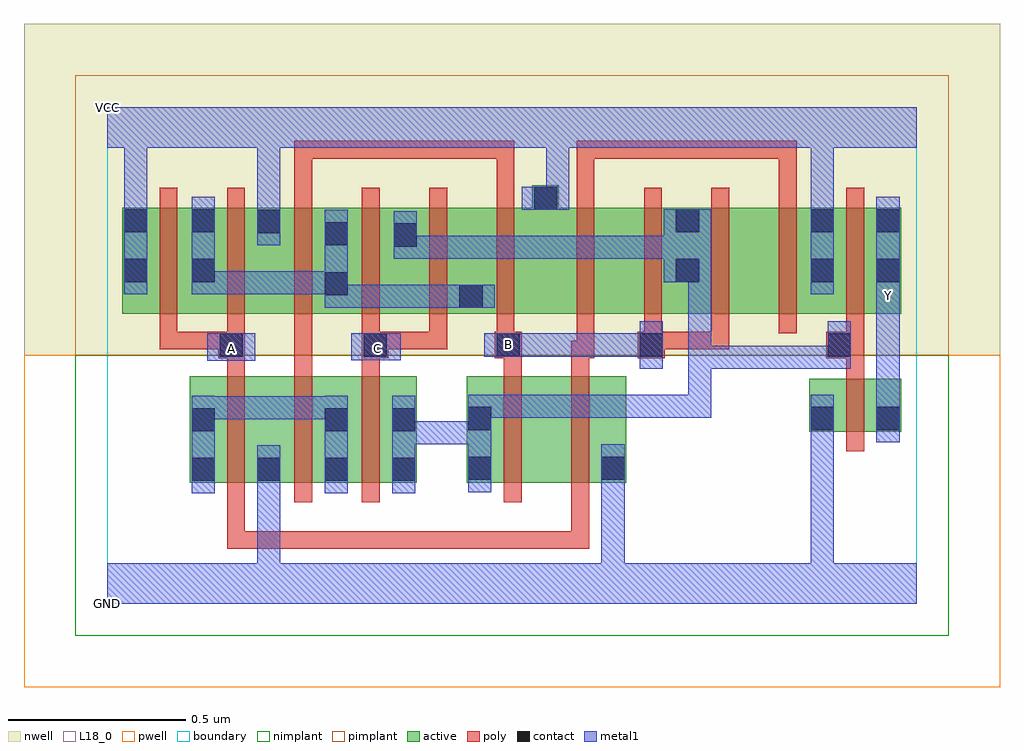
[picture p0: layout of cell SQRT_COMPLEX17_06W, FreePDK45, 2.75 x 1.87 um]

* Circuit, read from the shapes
.subckt SQRT_COMPLEX17_06W A B C GND VCC Y
M1 GND A n1 VSUBS nfet w=0.3u l=0.05u
M2 n1 B GND VSUBS nfet w=0.3u l=0.05u
M3 n2 C n1 VSUBS nfet w=0.3u l=0.05u
M4 n3 B n2 VSUBS nfet w=0.3u l=0.05u
M5 GND A n3 VSUBS nfet w=0.3u l=0.05u
M6 Y n2 GND VSUBS nfet w=0.15u l=0.05u
M7 n4 A VCC n5 pfet w=0.3u l=0.05u m=2
M8 n4 B VCC n5 pfet w=0.3u l=0.05u m=2
M9 n2 C n4 n5 pfet w=0.3u l=0.05u m=2
M10 n6 A VCC n5 pfet w=0.3u l=0.05u
M11 n2 B n6 n5 pfet w=0.3u l=0.05u
M12 n7 B n2 n5 pfet w=0.3u l=0.05u
M13 VCC A n7 n5 pfet w=0.3u l=0.05u
M14 Y n2 VCC n5 pfet w=0.3u l=0.05u
.ends

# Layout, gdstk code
import gdstk
lib = gdstk.Library(unit=1e-6, precision=1e-09)
def R(c, l, rs):  # rectangles x0, y0, x1, y1
    for r in rs: c.add(gdstk.rectangle(r[:2], r[2:], *l))
def A(c, l, x, y, w, h, nx, ny, dx, dy):  # array of equal rectangles
    R(c, l, [(x+i*dx, y+j*dy, x+i*dx+w, y+j*dy+h) for i in range(nx) for j in range(ny)])
active = (1, 0)
pwell = (2, 0)
nwell = (3, 0)
nimplant = (4, 0)
pimplant = (5, 0)
poly = (9, 0)
contact = (10, 0)
metal1 = (11, 0)
L18_0 = (18, 0)
boundary = (235, 0)

sqrt_complex17_06w = lib.new_cell('SQRT_COMPLEX17_06W')
R(sqrt_complex17_06w, active, [(0.232,0.342,0.307,0.642), (0.232,0.342,0.492,0.642), (0.417,0.342,0.682,0.642), (0.417,0.342,0.492,0.437), (0.607,0.342,0.682,0.642), (0.607,0.342,0.872,0.642), (0.797,0.342,0.872,0.642), (1.012,0.342,1.087,0.642), (1.012,0.342,1.237,0.642), (1.237,0.342,1.462,0.642), (1.387,0.342,1.462,0.642), (1.977,0.485,2.052,0.635), (1.977,0.485,2.237,0.635), (2.162,0.485,2.237,0.635), (0.042,0.817,0.117,1.117), (0.042,0.817,0.307,1.117), (0.232,0.817,0.307,1.117), (0.232,0.817,0.492,1.117), (0.417,0.817,0.492,1.117), (0.417,0.817,0.682,1.117), (0.607,0.817,0.682,1.117), (0.607,0.817,0.877,1.117), (0.802,0.817,1.062,1.117), (0.987,0.817,1.272,1.117), (1.197,0.817,1.442,1.117), (1.442,0.817,1.672,1.117), (1.597,0.817,1.672,1.117), (1.597,0.817,1.822,1.117), (1.822,0.817,2.052,1.117), (1.977,0.817,2.052,1.117), (1.977,0.817,2.237,1.117), (2.162,0.817,2.237,1.117), (0.802,0.827,0.877,1.117), (1.197,0.827,1.272,1.18), (0.987,0.83,1.062,1.055)])
R(sqrt_complex17_06w, pwell, [(-0.235,-0.235,2.515,0.7)])
R(sqrt_complex17_06w, nwell, [(-0.235,0.7,2.515,1.635)])
R(sqrt_complex17_06w, nimplant, [(-0.09,-0.09,2.37,0.7)])
R(sqrt_complex17_06w, pimplant, [(-0.09,0.7,2.37,1.49)])
A(sqrt_complex17_06w, poly, 0.337, 0.287, 0.05, 0.41, 3, 1, 0.19, 0)
A(sqrt_complex17_06w, poly, 0.337, 0.647, 0.05, 0.095, 3, 1, 0.19, 0)
A(sqrt_complex17_06w, poly, 0.717, 0.717, 0.05, 0.095, 3, 1, 0.19, 0)
A(sqrt_complex17_06w, poly, 0.147, 0.762, 0.05, 0.41, 6, 1, 0.19, 0)
A(sqrt_complex17_06w, poly, 1.322, 0.762, 0.05, 0.41, 5, 1, 0.19, 0)
R(sqrt_complex17_06w, poly, [(0.337,0.155,0.387,0.205), (0.337,0.155,0.387,0.205), (0.337,0.155,0.387,0.205), (0.337,0.155,0.387,0.337), (0.337,0.155,0.635,0.205), (0.585,0.155,0.635,0.205), (0.585,0.155,0.635,0.205), (0.585,0.155,0.635,0.205), (0.585,0.155,0.805,0.205), (0.755,0.155,0.805,0.205), (0.755,0.155,0.805,0.205), (0.755,0.155,0.805,0.205), (0.755,0.155,0.937,0.205), (0.887,0.155,0.937,0.205), (0.887,0.155,0.937,0.205), (0.887,0.155,0.937,0.205), (0.887,0.155,1.225,0.205), (1.175,0.155,1.225,0.205), (1.175,0.155,1.357,0.205), (1.307,0.155,1.357,0.205), (1.307,0.155,1.357,0.205), (1.307,0.155,1.357,0.205), (1.307,0.155,1.357,0.337), (1.117,0.287,1.167,0.697), (1.307,0.287,1.357,0.697), (2.082,0.43,2.132,0.69), (2.082,0.64,2.132,0.742), (1.117,0.647,1.167,0.742), (1.307,0.647,1.357,0.742), (0.312,0.692,0.387,0.767), (0.527,0.692,0.577,0.742), (0.527,0.692,0.577,0.812), (0.717,0.692,0.792,0.767), (1.092,0.692,1.167,0.767), (1.307,0.692,1.372,0.742), (1.322,0.692,1.372,0.812), (1.495,0.692,1.57,0.767), (2.025,0.692,2.132,0.767), (0.147,0.717,0.197,0.812), (0.147,0.717,0.197,0.767), (0.147,0.717,0.197,0.767), (0.147,0.717,0.197,0.767), (0.147,0.717,0.362,0.767), (0.337,0.717,0.387,0.812), (0.742,0.717,0.792,0.767), (0.742,0.717,0.792,0.767), (0.742,0.717,0.957,0.767), (0.907,0.717,0.957,0.767), (1.512,0.717,1.562,0.812), (1.52,0.717,1.752,0.767), (1.702,0.717,1.752,0.812), (1.702,0.717,1.752,0.767), (1.702,0.717,1.752,0.767), (1.702,0.717,1.752,0.767), (2.082,0.717,2.132,0.812), (0.527,1.122,0.577,1.305), (1.097,1.122,1.147,1.305), (1.322,1.122,1.372,1.305), (1.892,1.122,1.942,1.305), (0.527,1.255,0.577,1.305), (0.527,1.255,0.577,1.305), (0.527,1.255,0.577,1.305), (0.527,1.255,0.805,1.305), (0.755,1.255,0.805,1.305), (0.755,1.255,0.805,1.305), (0.755,1.255,0.805,1.305), (0.755,1.255,1.01,1.305), (0.96,1.255,1.01,1.305), (0.96,1.255,1.01,1.305), (0.96,1.255,1.01,1.305), (0.96,1.255,1.147,1.305), (1.097,1.255,1.147,1.305), (1.322,1.255,1.372,1.305), (1.322,1.255,1.542,1.305), (1.492,1.255,1.542,1.305), (1.492,1.255,1.542,1.305), (1.492,1.255,1.542,1.305), (1.492,1.255,1.702,1.305), (1.652,1.255,1.702,1.305), (1.652,1.255,1.702,1.305), (1.652,1.255,1.702,1.305), (1.652,1.255,1.942,1.305), (1.892,1.255,1.942,1.305), (1.892,1.255,1.942,1.305), (1.892,1.255,1.942,1.305)])
A(sqrt_complex17_06w, contact, 0.422, 0.347, 0.065, 0.065, 3, 1, 0.19, 0)
R(sqrt_complex17_06w, contact, [(0.237,0.347,0.302,0.412), (1.017,0.35,1.082,0.415), (1.392,0.35,1.457,0.415), (0.237,0.487,0.302,0.552), (0.612,0.487,0.677,0.552), (0.802,0.487,0.867,0.552), (1.017,0.49,1.082,0.555), (1.982,0.49,2.047,0.555), (2.167,0.49,2.232,0.555), (0.317,0.697,0.382,0.762), (0.722,0.697,0.787,0.762), (1.097,0.697,1.162,0.762), (1.5,0.697,1.565,0.762), (2.03,0.697,2.095,0.762), (0.992,0.835,1.057,0.9), (0.612,0.87,0.677,0.935), (0.047,0.907,0.112,0.972), (0.237,0.907,0.302,0.972), (1.602,0.907,1.667,0.972), (1.982,0.907,2.047,0.972), (2.167,0.907,2.232,0.972), (0.807,1.007,0.872,1.072), (0.612,1.01,0.677,1.075), (0.422,1.045,0.487,1.11), (0.047,1.047,0.112,1.112), (0.237,1.047,0.302,1.112), (1.602,1.047,1.667,1.112), (1.982,1.047,2.047,1.112), (2.167,1.047,2.232,1.112), (1.202,1.11,1.267,1.175)])
R(sqrt_complex17_06w, metal1, [(0,0,2.28,0.115), (0.422,0.05,0.487,0.115), (0.422,0.05,0.487,0.115), (0.422,0.05,0.487,0.377), (1.392,0.05,1.457,0.38), (1.982,0.05,2.047,0.52), (0.237,0.312,0.302,0.587), (0.422,0.312,0.487,0.377), (0.422,0.312,0.487,0.377), (0.422,0.312,0.487,0.447), (0.612,0.312,0.677,0.587), (0.802,0.312,0.867,0.587), (1.017,0.315,1.082,0.59), (1.392,0.315,1.457,0.38), (1.392,0.315,1.457,0.38), (1.392,0.315,1.457,0.38), (1.392,0.315,1.457,0.38), (1.392,0.315,1.457,0.45), (0.802,0.45,0.867,0.515), (0.802,0.45,0.867,0.515), (0.802,0.45,1.082,0.515), (1.982,0.455,2.047,0.52), (1.982,0.455,2.047,0.52), (1.982,0.455,2.047,0.52), (1.982,0.455,2.047,0.52), (1.982,0.455,2.047,0.52), (1.982,0.455,2.047,0.52), (1.982,0.455,2.047,0.59), (2.167,0.455,2.232,0.59), (0.237,0.52,0.302,0.585), (0.237,0.52,0.302,0.585), (0.237,0.52,0.54,0.585), (0.475,0.52,0.54,0.585), (0.475,0.52,0.54,0.585), (0.475,0.52,0.54,0.585), (0.475,0.52,0.677,0.585), (1.017,0.525,1.232,0.59), (1.167,0.525,1.232,0.59), (1.167,0.525,1.232,0.59), (1.167,0.525,1.232,0.59), (1.167,0.525,1.427,0.59), (1.362,0.525,1.427,0.59), (1.362,0.525,1.427,0.59), (1.362,0.525,1.427,0.59), (1.362,0.525,1.632,0.59), (1.567,0.525,1.632,0.59), (1.567,0.525,1.702,0.59), (1.637,0.525,1.702,0.59), (1.637,0.525,1.702,0.727), (2.167,0.525,2.232,0.867), (1.5,0.662,1.565,0.797), (1.637,0.662,1.702,0.727), (1.637,0.662,1.77,0.727), (1.637,0.662,1.702,0.972), (1.705,0.662,1.77,0.727), (1.705,0.662,1.907,0.727), (1.842,0.662,1.907,0.727), (1.842,0.662,1.907,0.727), (1.842,0.662,1.907,0.727), (1.842,0.662,2.095,0.727), (2.03,0.662,2.095,0.727), (2.03,0.662,2.095,0.727), (2.03,0.662,2.095,0.797), (0.282,0.685,0.417,0.762), (0.687,0.687,0.827,0.762), (1.062,0.697,1.197,0.762), (1.132,0.697,1.29,0.762), (1.225,0.697,1.29,0.762), (1.225,0.697,1.427,0.762), (1.362,0.697,1.427,0.762), (1.362,0.697,1.427,0.762), (1.362,0.697,1.427,0.762), (1.362,0.697,1.565,0.762), (2.167,0.802,2.232,0.937), (0.612,0.835,0.677,0.9), (0.612,0.835,0.677,0.9), (0.612,0.835,0.677,1.11), (0.612,0.835,0.885,0.9), (0.82,0.835,0.885,0.9), (0.82,0.835,0.885,0.9), (0.82,0.835,0.885,0.9), (0.82,0.835,1.022,0.9), (0.957,0.835,1.092,0.9), (0.047,0.872,0.112,1.147), (0.237,0.872,0.302,0.937), (0.237,0.872,0.302,0.937), (0.237,0.872,0.302,1.147), (0.237,0.872,0.54,0.937), (0.475,0.872,0.54,0.937), (0.475,0.872,0.54,0.937), (0.475,0.872,0.54,0.937), (0.475,0.872,0.677,0.937), (1.982,0.872,2.047,1.147), (2.167,0.872,2.232,0.937), (2.167,0.872,2.232,1.147), (1.567,0.907,1.702,1.112), (0.807,0.972,0.872,1.037), (0.807,0.972,0.872,1.037), (0.807,0.972,0.872,1.107), (0.807,0.972,1.095,1.037), (1.03,0.972,1.095,1.037), (1.03,0.972,1.095,1.037), (1.03,0.972,1.095,1.037), (1.03,0.972,1.29,1.037), (1.225,0.972,1.29,1.037), (1.225,0.972,1.29,1.037), (1.225,0.972,1.29,1.037), (1.225,0.972,1.427,1.037), (1.362,0.972,1.427,1.037), (1.362,0.972,1.427,1.037), (1.362,0.972,1.427,1.037), (1.362,0.972,1.632,1.037), (1.567,0.972,1.632,1.037), (1.567,0.972,1.632,1.037), (0.422,1.01,0.487,1.145), (0.422,1.08,0.487,1.145), (0.422,1.08,0.487,1.145), (0.422,1.08,0.487,1.35), (0.047,1.082,0.112,1.35), (1.982,1.082,2.047,1.147), (1.982,1.082,2.047,1.147), (1.982,1.082,2.047,1.35), (1.167,1.11,1.302,1.175), (1.237,1.11,1.302,1.175), (1.237,1.11,1.302,1.175), (1.237,1.11,1.302,1.35), (0,1.285,2.28,1.4), (0.047,1.285,0.112,1.35), (0.047,1.285,0.112,1.35)])
R(sqrt_complex17_06w, L18_0, [(0,0,2.28,0.115), (0.422,0.05,0.487,0.115), (0.422,0.05,0.487,0.115), (0.422,0.05,0.487,0.377), (1.392,0.05,1.457,0.38), (1.982,0.05,2.047,0.52), (0.422,0.312,0.487,0.377), (0.422,0.312,0.487,0.377), (0.422,0.312,0.487,0.447), (1.392,0.315,1.457,0.38), (1.392,0.315,1.457,0.38), (1.392,0.315,1.457,0.38), (1.392,0.315,1.457,0.38), (1.392,0.315,1.457,0.45), (1.982,0.455,2.047,0.52), (1.982,0.455,2.047,0.52), (1.982,0.455,2.047,0.52), (1.982,0.455,2.047,0.52), (1.982,0.455,2.047,0.52), (1.982,0.455,2.047,0.52), (1.982,0.455,2.047,0.59), (2.167,0.455,2.232,0.59), (2.167,0.525,2.232,0.867), (1.5,0.662,1.565,0.797), (0.282,0.685,0.417,0.762), (0.317,0.687,0.382,0.752), (0.687,0.687,0.827,0.762), (0.727,0.687,0.792,0.752), (1.062,0.697,1.197,0.762), (1.097,0.697,1.162,0.762), (1.132,0.697,1.29,0.762), (1.225,0.697,1.29,0.762), (1.225,0.697,1.427,0.762), (1.362,0.697,1.427,0.762), (1.362,0.697,1.427,0.762), (1.362,0.697,1.427,0.762), (1.362,0.697,1.565,0.762), (2.167,0.802,2.232,0.937), (2.167,0.837,2.232,0.902), (0.047,0.872,0.112,1.147), (1.982,0.872,2.047,1.147), (2.167,0.872,2.232,1.147), (2.167,0.872,2.232,0.937), (0.422,1.01,0.487,1.145), (0.422,1.08,0.487,1.145), (0.422,1.08,0.487,1.145), (0.422,1.08,0.487,1.35), (0.047,1.082,0.112,1.35), (1.982,1.082,2.047,1.147), (1.982,1.082,2.047,1.147), (1.982,1.082,2.047,1.35), (1.167,1.11,1.302,1.175), (1.237,1.11,1.302,1.175), (1.237,1.11,1.302,1.175), (1.237,1.11,1.302,1.35), (0,1.285,2.28,1.4), (0.047,1.285,0.112,1.35), (0.047,1.285,0.112,1.35)])
R(sqrt_complex17_06w, boundary, [(0,0,2.28,1.4)])
sqrt_complex17_06w.add(gdstk.Label('A', (0.35,0.72), layer=11, texttype=0))
sqrt_complex17_06w.add(gdstk.Label('B', (1.13,0.73), layer=11, texttype=0))
sqrt_complex17_06w.add(gdstk.Label('C', (0.76,0.72), layer=11, texttype=0))
sqrt_complex17_06w.add(gdstk.Label('Y', (2.2,0.87), layer=11, texttype=0))
sqrt_complex17_06w.add(gdstk.Label('VCC', (0,1.4), layer=11, texttype=0))
sqrt_complex17_06w.add(gdstk.Label('GND', (0,0), layer=11, texttype=0))

lib.write_gds('SQRT_COMPLEX17_06W.gds')
